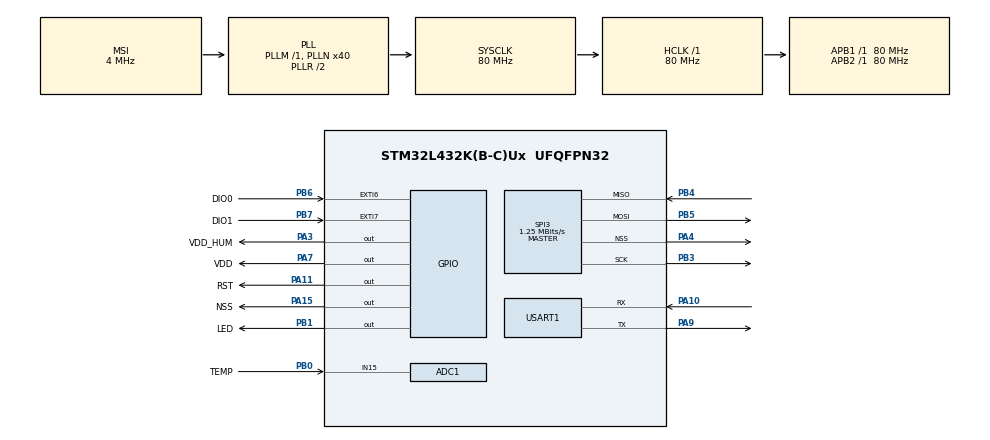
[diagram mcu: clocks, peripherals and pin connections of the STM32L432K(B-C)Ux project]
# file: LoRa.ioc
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ADC1.Channel-2\#ChannelRegularConversion=ADC_CHANNEL_15
ADC1.NbrOfConversionFlag=1
ADC1.OffsetNumber-2\#ChannelRegularConversion=ADC_OFFSET_NONE
ADC1.Rank-2\#ChannelRegularConversion=1
ADC1.SamplingTime-2\#ChannelRegularConversion=ADC_SAMPLETIME_640CYCLES_5
ADC1.master=1
Mcu.Family=STM32L4
Mcu.Name=STM32L432K(B-C)Ux
Mcu.Package=UFQFPN32
NVIC.EXTI9_5_IRQn=true\:0\:0\:false\:false\:true\:true\:true\:true
NVIC.PriorityGroup=NVIC_PRIORITYGROUP_4
NVIC.SPI3_IRQn=true\:0\:0\:false\:false\:true\:true\:true\:true
NVIC.TIM7_IRQn=true\:0\:0\:false\:false\:true\:true\:true\:true
NVIC.USART1_IRQn=true\:0\:0\:false\:false\:true\:true\:true\:true
PA10.Mode=Asynchronous
PA10.Signal=USART1_RX
PA11.GPIO_Label=RST
PA11.Signal=GPIO_Output
PA13\ (JTMS-SWDIO).Mode=Serial_Wire
PA13\ (JTMS-SWDIO).Signal=SYS_JTMS-SWDIO
PA14\ (JTCK-SWCLK).Mode=Serial_Wire
PA14\ (JTCK-SWCLK).Signal=SYS_JTCK-SWCLK
PA15\ (JTDI).GPIO_Label=NSS
PA15\ (JTDI).Signal=GPIO_Output
PA3.GPIO_Label=VDD_HUM
PA3.Signal=GPIO_Output
PA4.Mode=NSS_Signal_Hard_Output
PA4.Signal=SPI3_NSS
PA7.GPIO_Label=VDD
PA7.Signal=GPIO_Output
PA9.Mode=Asynchronous
PA9.Signal=USART1_TX
PB0.GPIO_Label=TEMP
PB0.Signal=ADCx_IN15
PB1.GPIO_Label=LED
PB1.Signal=GPIO_Output
PB3\ (JTDO-TRACESWO).Mode=Full_Duplex_Master
PB3\ (JTDO-TRACESWO).Signal=SPI3_SCK
PB4\ (NJTRST).Mode=Full_Duplex_Master
PB4\ (NJTRST).Signal=SPI3_MISO
PB5.Mode=Full_Duplex_Master
PB5.Signal=SPI3_MOSI
PB6.GPIO_Label=DIO0
PB6.Signal=GPXTI6
PB7.GPIO_Label=DIO1
PB7.Signal=GPXTI7
PC14-OSC32_IN\ (PC14).Mode=LSE-External-Oscillator
PC14-OSC32_IN\ (PC14).Signal=RCC_OSC32_IN
PC15-OSC32_OUT\ (PC15).Mode=LSE-External-Oscillator
PC15-OSC32_OUT\ (PC15).Signal=RCC_OSC32_OUT
ProjectManager.HeapSize=0x200
ProjectManager.StackSize=0x400
ProjectManager.TargetToolchain=STM32CubeIDE
RCC.ADCCLockSelection=RCC_ADCCLKSOURCE_SYSCLK
RCC.ADCFreq_Value=80000000
RCC.AHBFreq_Value=80000000
RCC.APB1Freq_Value=80000000
RCC.APB1TimFreq_Value=80000000
RCC.APB2Freq_Value=80000000
RCC.APB2TimFreq_Value=80000000
RCC.CortexFreq_Value=80000000
RCC.HCLKFreq_Value=80000000
RCC.HSE_VALUE=8000000
RCC.HSI48_VALUE=48000000
RCC.HSI_VALUE=16000000
RCC.MSI_VALUE=4000000
RCC.PLLN=40
RCC.SYSCLKFreq_VALUE=80000000
RCC.SYSCLKSource=RCC_SYSCLKSOURCE_PLLCLK
RCC.USBFreq_Value=16000000
RCC.VCOOutputFreq_Value=160000000
SH.ADCx_IN15.0=ADC1_IN15,IN15-Single-Ended
SPI3.BaudRatePrescaler=SPI_BAUDRATEPRESCALER_64
SPI3.CalculateBaudRate=1.25 MBits/s
SPI3.DataSize=SPI_DATASIZE_8BIT
SPI3.Direction=SPI_DIRECTION_2LINES
SPI3.Mode=SPI_MODE_MASTER
SPI3.VirtualNSS=VM_NSSHARD
SPI3.VirtualType=VM_MASTER
TIM7.Prescaler=2500-1
USART1.VirtualMode-Asynchronous=VM_ASYNC
VP_TIM7_VS_ClockSourceINT.Mode=Enable_Timer
board=custom

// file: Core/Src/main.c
/* USER CODE BEGIN Header */
/**
  ******************************************************************************
  * @file           : main.c
  * @brief          : Main program body
  ******************************************************************************
  * @attention
  *
  * Copyright (c) 2026 STMicroelectronics.
  * All rights reserved.
  *
  * This software is licensed under terms that can be found in the LICENSE file
  * in the root directory of this software component.
  * If no LICENSE file comes with this software, it is provided AS-IS.
  *
  ******************************************************************************
  */
/* USER CODE END Header */
#include "main.h"
#include "adc.h"
#include "spi.h"
#include "tim.h"
#include "usart.h"
#include "gpio.h"

/* USER CODE BEGIN Includes */
//#include "main.h"
#include "spi.h"
#include "adc.h"
#include "tim.h"
#include "usart.h"
#include "gpio.h"
#include "lmic.h"
#include "debug.h"
/* USER CODE END Includes */

/* USER CODE BEGIN PV */
/* Private variables ---------------------------------------------------------*/
// application router ID (LSBF) < ------- IMPORTANT
static const u1_t APPEUI[8] = { 0x00, 0x00, 0x00, 0x00, 0x00, 0x00, 0x00, 0x00};
// unique device ID (LSBF) < ------- IMPORTANT
static const u1_t DEVEUI[8] = { 0xA6, 0x90, 0x07, 0xD0, 0x7E, 0xD5, 0xB3, 0x70};
// device-specific AES key (derived from device EUI (MSBF))
static const u1_t DEVKEY[16] = {0x9A, 0xC9, 0x21, 0x06, 0xC0, 0x55, 0x24, 0x85, 0x88, 0x7F, 0xEF, 0xD1, 0xB6, 0x12, 0x28, 0x02};

/* USER CODE END PV */

void SystemClock_Config(void);

/* USER CODE BEGIN 0 */
// provide application router ID (8 bytes, LSBF)
void os_getArtEui (u1_t* buf) {
	memcpy(buf, APPEUI, 8);
}
// provide device ID (8 bytes, LSBF)
void os_getDevEui (u1_t* buf) {
	memcpy(buf, DEVEUI, 8);
}
// provide device key (16 bytes)
void os_getDevKey (u1_t* buf) {
	memcpy(buf, DEVKEY, 16);
}
void initsensor(){
// Here you init your sensors

}

void initfunc (osjob_t* j) {
	// intialize sensor hardware
	initsensor();
	// reset MAC state
	LMIC_reset();
	// start joining
	LMIC_startJoining();
	// init done -
	//onEvent(); //callback will be invoked...
}
uint32_t readsensor(){
	//HAL_ADC_PollForConversion(&hadc, 1);
	//u2_t value = 0;
	HAL_ADC_Start(&hadc1);
	HAL_ADC_PollForConversion(&hadc1, HAL_MAX_DELAY);
		u2_t N = HAL_ADC_GetValue(&hadc1);
		//u2_t temp_c = ((1034-N)/5.48);
		//u2_t N = 4095*V_temp/3300;
		uint32_t T_1000 = 188686 - (uint32_t)147*(uint32_t)N;
		 //value = T_1000;//temps_c;//HAL_ADC_; /// read from evrything ...make your own sensor

	return T_1000;
}

static int cnt = 0;
static osjob_t hellojob;
static osjob_t blinkjob;
static osjob_t reportjob;
static u1_t ledstate = 0;

static void blinkfunc(osjob_t* j)
{
	ledstate = !ledstate;
	debug_led(ledstate);
	os_setTimedCallback(j, os_getTime()+ms2osticks(100), blinkfunc);
}
static void hellofunc (osjob_t* j){
	//say hello
	debug_str("Hello world !!!\r\n");
	//log counter
	debug_val("cnt = ", cnt);
	//toggle LED
	debug_led(++cnt & 1);
	//reschedule job every second
	os_setTimedCallback(j, os_getTime()+sec2osticks(1), hellofunc);
}

// report sensor value every minute
static void reportfunc (osjob_t* j) {
	 // read sensor
	float val = readsensor();
	u2_t temp_x10 = (u2_t)(val / 100);
	debug_valdec("val = ", val);
	int16_t val_entier = (int16_t) val;
	// prepare and schedule data for transmission
	LMIC.frame[0] = (int8_t)0x00;//(u2_t)((val_entier >> 8) & 0xFF);
	LMIC.frame[1] = (int8_t)0x67;//(val_entier & 0xFF);
	//val = val/100;
	LMIC.frame[2] = (int8_t)((temp_x10 >> 8) & 0xFF);
	LMIC.frame[3] = (int8_t)(temp_x10 & 0xFF);

	//LMIC.dataLen = 4;

	LMIC_setTxData2(1, LMIC.frame, 4, 0); // (port 1, 2 bytes, unconfirmed)
	// reschedule job in 60 seconds
	os_setTimedCallback(j, os_getTime()+sec2osticks(15), reportfunc);
}

//
//static void reportfunc(osjob_t* j)
//{
//
//    u2_t temperature = readsensor();
//
//    debug_valdec("val temp = ", temperature);
//
//    // Température en dixièmes de degré Celsius
//    u2_t temp_x10 = (u2_t)(temperature * 10.0f);
//
//    LMIC.frame[0] = 0x02;
//    LMIC.frame[1] = 0x67;  // Identifiant température
//
//    // Encodage sur 2 octets, poids fort puis poids faible
//    LMIC.frame[2] = (u2_t)((temp_x10 >> 8) & 0xFF);
//    LMIC.frame[3] = (u2_t)(temp_x10 & 0xFF);
//
//    LMIC.dataLen = 4;
//    LMIC_setTxData2(1, LMIC.frame, 2, 0);
//    os_setTimedCallback(j, os_getTime()+sec2osticks(15), reportfunc);
//}

//////////////////////////////////////////////////
// LMIC EVENT CALLBACK
//////////////////////////////////////////////////
void onEvent (ev_t ev) {
	debug_event(ev);
	switch(ev) {
	// network joined, session established
		case EV_JOINING:
			debug_str((const char)"try joining\r\n");
			blinkfunc(&blinkjob);
			break;
		case EV_JOINED:
			// kick-off periodic sensor job
			reportfunc(&reportjob);
			os_clearCallback(&blinkjob);
			debug_led(1);
			break;
		case EV_JOIN_FAILED:
			debug_str((const char)"join failed\r\n");
			break;
		case EV_SCAN_TIMEOUT:
			debug_str((const char*)"EV_SCAN_TIMEOUT\r\n");
			break;
		case EV_BEACON_FOUND:
			debug_str((const char*)"EV_BEACON_FOUND\r\n");
			break;
		case EV_BEACON_MISSED:
			debug_str((const char*)"EV_BEACON_MISSED\r\n");
			break;
		case EV_BEACON_TRACKED:
			debug_str((const char*)"EV_BEACON_TRACKED\r\n");
			break;
		case EV_RFU1:
			debug_str("EV_RFU1\r\n");
			break;
		case EV_REJOIN_FAILED:
			debug_str("EV_REJOIN_FAILED\r\n");
			break;
		case EV_TXCOMPLETE:
			debug_str("EV_TXCOMPLETE (includes waiting for RX windows)\r\n");
			if (LMIC.txrxFlags & TXRX_ACK)
				debug_str((const char*)"Received ack\r\n");
			if (LMIC.dataLen)
			{
				debug_valdec("Received bytes of payload\r\n:",LMIC.dataLen);
				debug_val("Data = :",LMIC.frame[LMIC.dataBeg]);
				debug_led(LMIC.frame[LMIC.dataBeg]);
				debug_str("Received ");
//				debug_str((const char*)LMIC.dataLen);
//				debug_str((const char*)" bytes of payload\r\n");
			}
			break;
		case EV_LOST_TSYNC:
			debug_str("EV_LOST_TSYNC\r\n");
			break;
		case EV_RESET:
			debug_str("EV_RESET\r\n");
			break;
		case EV_RXCOMPLETE:
			// data received in ping slot
			debug_str("EV_RXCOMPLETE\r\n");
			break;
		case EV_LINK_DEAD:
			debug_str("EV_LINK_DEAD\r\n");
			break;
		case EV_LINK_ALIVE:
			debug_str("EV_LINK_ALIVE\r\n");
			break;
		default:
			debug_str("Unknown event\r\n");
			break;
	}
}

/* USER CODE END 0 */

int main(void)
{

  /* MCU Configuration--------------------------------------------------------*/

  /* Reset of all peripherals, Initializes the Flash interface and the Systick. */
  HAL_Init();

  /* Configure the system clock */
  SystemClock_Config();

  /* Initialize all configured peripherals */
  MX_GPIO_Init();
  MX_TIM7_Init();
  MX_SPI3_Init();
  MX_USART1_UART_Init();
  MX_ADC1_Init();
  /* USER CODE BEGIN 2 */
  HAL_GPIO_WritePin(VDD_GPIO_Port, VDD_Pin, 1);
  HAL_ADCEx_Calibration_Start(&hadc1,ADC_SINGLE_ENDED);
  HAL_TIM_Base_Start_IT(&htim7);   // <----------- change to your setup
  __HAL_SPI_ENABLE(&hspi3);        // <----------- change to your setup
  osjob_t initjob;
  // initialize runtime env
  os_init();
  // initialize debug library
  debug_init();
  // setup initial job
  //os_setCallback(&initjob, hellofunc);
  os_setCallback(&initjob, initfunc);

  // execute scheduled jobs and events
  os_runloop();
  // (not reached)

  return 0;

  /* USER CODE END 2 */

  /* Infinite loop */
  while (1)
  {

  }
}

void SystemClock_Config(void)
{
  RCC_OscInitTypeDef RCC_OscInitStruct = {0};
  RCC_ClkInitTypeDef RCC_ClkInitStruct = {0};

  /** Configure the main internal regulator output voltage
  */
  if (HAL_PWREx_ControlVoltageScaling(PWR_REGULATOR_VOLTAGE_SCALE1) != HAL_OK)
  {
    Error_Handler();
  }

  /** Configure LSE Drive Capability
  */
  HAL_PWR_EnableBkUpAccess();
  __HAL_RCC_LSEDRIVE_CONFIG(RCC_LSEDRIVE_LOW);

  /** Initializes the RCC Oscillators according to the specified parameters
  * in the RCC_OscInitTypeDef structure.
  */
  RCC_OscInitStruct.OscillatorType = RCC_OSCILLATORTYPE_LSE|RCC_OSCILLATORTYPE_MSI;
  RCC_OscInitStruct.LSEState = RCC_LSE_ON;
  RCC_OscInitStruct.MSIState = RCC_MSI_ON;
  RCC_OscInitStruct.MSICalibrationValue = 0;
  RCC_OscInitStruct.MSIClockRange = RCC_MSIRANGE_6;
  RCC_OscInitStruct.PLL.PLLState = RCC_PLL_ON;
  RCC_OscInitStruct.PLL.PLLSource = RCC_PLLSOURCE_MSI;
  RCC_OscInitStruct.PLL.PLLM = 1;
  RCC_OscInitStruct.PLL.PLLN = 40;
  RCC_OscInitStruct.PLL.PLLP = RCC_PLLP_DIV7;
  RCC_OscInitStruct.PLL.PLLQ = RCC_PLLQ_DIV2;
  RCC_OscInitStruct.PLL.PLLR = RCC_PLLR_DIV2;
  if (HAL_RCC_OscConfig(&RCC_OscInitStruct) != HAL_OK)
  {
    Error_Handler();
  }

  /** Initializes the CPU, AHB and APB buses clocks
  */
  RCC_ClkInitStruct.ClockType = RCC_CLOCKTYPE_HCLK|RCC_CLOCKTYPE_SYSCLK
                              |RCC_CLOCKTYPE_PCLK1|RCC_CLOCKTYPE_PCLK2;
  RCC_ClkInitStruct.SYSCLKSource = RCC_SYSCLKSOURCE_PLLCLK;
  RCC_ClkInitStruct.AHBCLKDivider = RCC_SYSCLK_DIV1;
  RCC_ClkInitStruct.APB1CLKDivider = RCC_HCLK_DIV1;
  RCC_ClkInitStruct.APB2CLKDivider = RCC_HCLK_DIV1;

  if (HAL_RCC_ClockConfig(&RCC_ClkInitStruct, FLASH_LATENCY_4) != HAL_OK)
  {
    Error_Handler();
  }

  /** Enable MSI Auto calibration
  */
  HAL_RCCEx_EnableMSIPLLMode();
}

void Error_Handler(void)
{
  __disable_irq();
  while (1)
  {
  }
}
